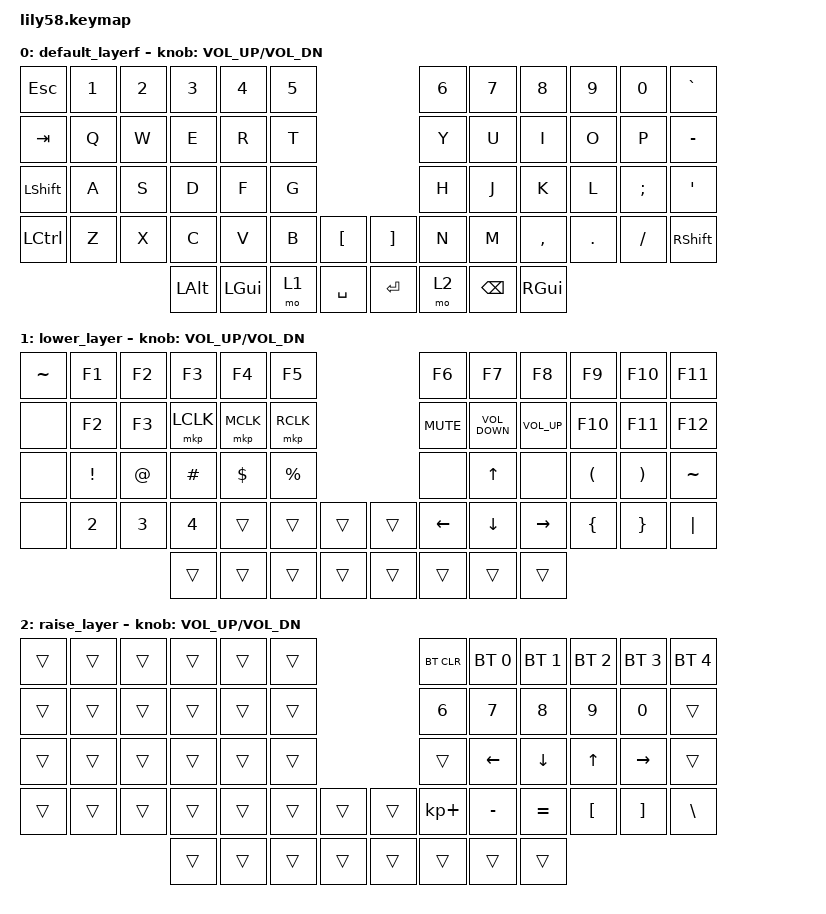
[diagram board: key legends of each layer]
/*
 * Copyright (c) 2020 The ZMK Contributors
 *
 * SPDX-License-Identifier: MIT
 */

#include <behaviors.dtsi>
#include <dt-bindings/zmk/bt.h>
#include <dt-bindings/zmk/keys.h>
#include <dt-bindings/zmk/mouse.h>

/ {
    keymap {
        compatible = "zmk,keymap";

        default_layerf {
            // ------------------------------------------------------------------------------------------------------------
            // |  ESC  |  1  |  2  |  3   |  4   |  5   |                   |  6   |  7    |  8    |  9   |   0   |   `   |
            // |  TAB  |  Q  |  W  |  E   |  R   |  T   |                   |  Y   |  U    |  I    |  O   |   P   |   -   |
            // |  CTRL |  A  |  S  |  D   |  F   |  G   |                   |  H   |  J    |  K    |  L   |   ;   |   '   |
            // | SHIFT |  Z  |  X  |  C   |  V   |  B   |   "["  |  |  "]"  |  N   |  M    |  ,    |  .   |   /   | SHIFT |
            //                     | ALT  | GUI  | LOWER|  SPACE |  | ENTER | RAISE| BSPC  | GUI   |

            bindings = <
&kp ESC         &kp N1  &kp N2  &kp N3    &kp N4    &kp N5                         &kp N6  &kp N7    &kp N8     &kp N9   &kp N0    &kp GRAVE
&kp TAB         &kp Q   &kp W   &kp E     &kp R     &kp T                          &kp Y   &kp U     &kp I      &kp O    &kp P     &kp MINUS
&kp LEFT_SHIFT  &kp A   &kp S   &kp D     &kp F     &kp G                          &kp H   &kp J     &kp K      &kp L    &kp SEMI  &kp SQT
&kp LCTRL       &kp Z   &kp X   &kp C     &kp V     &kp B   &kp LBKT     &kp RBKT  &kp N   &kp M     &kp COMMA  &kp DOT  &kp FSLH  &kp RSHFT
                                &kp LALT  &kp LGUI  &mo 1   &kp SPACE    &kp RET   &mo 2   &kp BSPC  &kp RGUI
            >;

            sensor-bindings = <&inc_dec_kp C_VOL_UP C_VOL_DN>;
        };

        lower_layer {
            // --------------------------------------------------------------------------------------------------------------
            // | LPAD  | BRDn | BRUp |  MUT |  Vo- |  Vo+ |                   |      |       |       |      |       |       |
            // |  F1   |  F2  |  F3  |  F4  |  F5  |  F6  |                   |  F7  |  F8   |  F9   |  F10 |  F11  |  F12  |
            // |   `   |  !   |  @   |  #   |  $   |  %   |                   |  ^   |  &    |  *    |  (   |   )   |   ~   |
            // |       |      |      |      |      |      |        |  |       |      |  _    |  +    |  {   |   }   |  "|"  |
            //                       |      |      |      |        |  |       |      |       |       |

            bindings = <
&kp TILDE  &kp F1        &kp F2        &kp F3        &kp F4      &kp F5                       &kp F6          &kp F7             &kp F8           &kp F9    &kp F10   &kp F11
&none      &kp F2        &kp F3        &mkp LCLK     &mkp MCLK   &mkp RCLK                    &kp K_MUTE      &kp C_VOLUME_DOWN  &kp C_VOLUME_UP  &kp F10   &kp F11   &kp F12
&none      &kp EXCL      &kp AT        &kp HASH      &kp DOLLAR  &kp PRCNT                    &none           &kp UP_ARROW       &none            &kp LPAR  &kp RPAR  &kp TILDE
&none      &kp NUMBER_2  &kp NUMBER_3  &kp NUMBER_4  &trans      &trans     &trans    &trans  &kp LEFT_ARROW  &kp DOWN_ARROW     &kp RIGHT_ARROW  &kp LBRC  &kp RBRC  &kp PIPE
                                       &trans        &trans      &trans     &trans    &trans  &trans          &trans             &trans
            >;

            sensor-bindings = <&inc_dec_kp C_VOL_UP C_VOL_DN>;
        };

        raise_layer {
            // ------------------------------------------------------------------------------------------------------------
            // |       |     |     |      |      |      |                   |      |       |       |      |       |       |
            // |   `   |  1  |  2  |  3   |  4   |  5   |                   |  6   |   7   |   8   |  9   |   0   |       |
            // |   F1  |  F2 |  F3 |  F4  |  F5  |  F6  |                   |      |   <-  |   v   |  ^   |  ->   |       |
            // |   F7  |  F8 |  F9 |  F10 |  F11 |  F12 |        |  |       |  +   |   -   |   =   |  [   |   ]   |   \   |
            //                     |      |      |      |        |  |       |      |       |       |

            bindings = <
&trans  &trans  &trans  &trans  &trans  &trans                    &bt BT_CLR   &bt BT_SEL 0  &bt BT_SEL 1  &bt BT_SEL 2  &bt BT_SEL 3  &bt BT_SEL 4
&trans  &trans  &trans  &trans  &trans  &trans                    &kp N6       &kp N7        &kp N8        &kp N9        &kp N0        &trans
&trans  &trans  &trans  &trans  &trans  &trans                    &trans       &kp LEFT      &kp DOWN      &kp UP        &kp RIGHT     &trans
&trans  &trans  &trans  &trans  &trans  &trans  &trans    &trans  &kp KP_PLUS  &kp MINUS     &kp EQUAL     &kp LBKT      &kp RBKT      &kp BSLH
                        &trans  &trans  &trans  &trans    &trans  &trans       &trans        &trans
            >;

            sensor-bindings = <&inc_dec_kp C_VOL_UP C_VOL_DN>;
        };
    };
};
